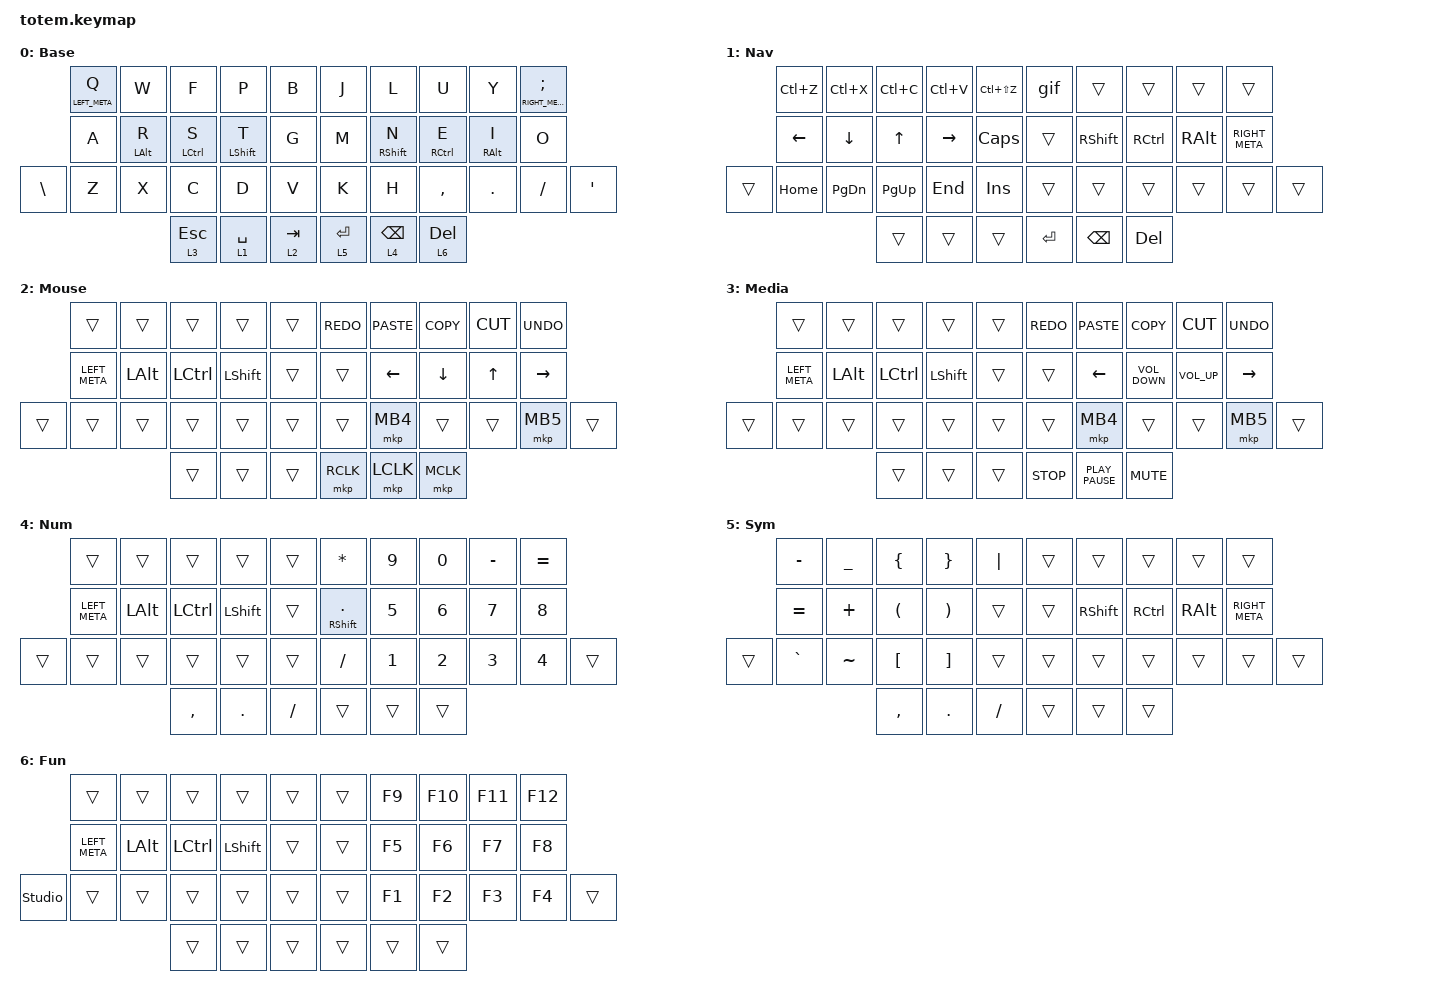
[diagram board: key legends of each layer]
//
//                                                        ▀▀▀▀▀     ▀▀▀▀▀          ▀▀█▀▀
//                                                        ▄▀▀▀▄  ▄  ▄▀▀▀▄  ▄  ▄▀▀▀▄  █  ▄▀▀▀▄
//                                                        █   █  █  █   █  █  █   █  █  █   █
//                                                         ▀▀▀   █   ▀▀▀   █   ▀▀▀   ▀   ▀▀▀
//                                                               █      ▄▄▄█▄▄▄    █   █
//                                                               ▀      █  █  █     █▄█
//                                                             ▀▀▀▀▀    █  █  █      ▀
//                                                                      ▀  ▀  ▀
//
// ▄▄▄▄▄▄▄▄▄▄▄▄▄▄▄▄▄▄▄▄▄▄▄▄▄▄▄▄▄▄▄▄▄▄▄▄▄▄▄▄▄▄▄▄▄▄▄▄▄▄▄▄▄▄▄▄▄▄▄▄▄▄▄▄▄▄▄▄▄▄▄▄▄▄▄▄▄▄▄▄▄▄▄▄▄▄▄▄▄▄▄▄▄▄▄▄▄▄▄▄▄▄▄▄▄▄▄▄▄▄▄▄▄▄▄▄▄▄▄▄▄▄▄▄▄▄▄▄▄▄▄▄▄▄▄▄▄▄▄▄▄▄▄▄▄▄▄▄▄

#include <behaviors.dtsi>
#include <dt-bindings/zmk/keys.h>
#include <dt-bindings/zmk/mouse.h>

#define BASE 0
#define NAV  1
#define MOUSE  2
#define MEDIA  3
#define NUM 4
#define SYM 5

&mt {
    quick-tap-ms = <100>;
    global-quick-tap;
    flavor = "tap-preferred";
    tapping-term-ms = <170>;
};

/ {
    combos {
        compatible = "zmk,combos";

        Alt_Sysreq_R {
            bindings = <&Alt_Sysreq_R>;
            key-positions = <32 37 11>;
        };

        backspace {
            bindings = <&kp BACKSPACE>;
            key-positions = <0 1>;
        };

        enter {
            bindings = <&kp ENTER>;
            key-positions = <2 3>;
        };

        Alt_Sysreq_E {
            bindings = <&Alt_Sysreq_E>;
            key-positions = <32 37 17>;
        };

        Alt_Sysreq_I {
            bindings = <&Alt_Sysreq_I>;
            key-positions = <32 37 18>;
        };

        Alt_Sysreq_S {
            bindings = <&Alt_Sysreq_S>;
            key-positions = <32 37 12>;
        };

        Alt_Sysreq_U {
            bindings = <&Alt_Sysreq_U>;
            key-positions = <32 37 7>;
        };

        Alt_Sysreq_B {
            bindings = <&Alt_Sysreq_B>;
            key-positions = <32 37 4>;
        };

        Alt_Sysreq_O {
            bindings = <&Alt_Sysreq_O>;
            key-positions = <32 37 19>;
        };
    };

    macros {
        gif: gif {
            label = "giphy";
            compatible = "zmk,behavior-macro";
            #binding-cells = <0>;
            bindings =
                <&macro_press>,
                <&kp LSHFT>,
                <&macro_tap>,
                <&kp N2>,
                <&macro_release>,
                <&kp LSHFT>,
                <&macro_tap>,
                <&kp G &kp I &kp F>;
        };

        Alt_Sysreq_R: Alt_Sysreq_R {
            compatible = "zmk,behavior-macro";
            #binding-cells = <0>;
            bindings =
                <&macro_press>,
                <&kp RIGHT_ALT &kp SYSREQ &kp R>,
                <&macro_release>;

            label = "ALT_SYSREQ_R";
        };

        Alt_Sysreq_E: Alt_Sysreq_E {
            compatible = "zmk,behavior-macro";
            #binding-cells = <0>;
            bindings =
                <&macro_press>,
                <&kp RIGHT_ALT &kp SYSREQ &kp E>,
                <&macro_release>;

            label = "ALT_SYSREQ_E";
        };

        Alt_Sysreq_I: Alt_Sysreq_I {
            compatible = "zmk,behavior-macro";
            #binding-cells = <0>;
            bindings =
                <&macro_press>,
                <&kp RIGHT_ALT &kp SYSREQ &kp I>,
                <&macro_release>;

            label = "ALT_SYSREQ_I";
        };

        Alt_Sysreq_S: Alt_Sysreq_S {
            compatible = "zmk,behavior-macro";
            #binding-cells = <0>;
            bindings =
                <&macro_press>,
                <&kp RIGHT_ALT &kp SYSREQ &kp S>,
                <&macro_release>;

            label = "ALT_SYSREQ_S";
        };

        Alt_Sysreq_U: Alt_Sysreq_U {
            compatible = "zmk,behavior-macro";
            #binding-cells = <0>;
            bindings =
                <&macro_press>,
                <&kp RIGHT_ALT &kp SYSREQ &kp U>,
                <&macro_release>;

            label = "ALT_SYSREQ_U";
        };

        Alt_Sysreq_B: Alt_Sysreq_B {
            compatible = "zmk,behavior-macro";
            #binding-cells = <0>;
            bindings =
                <&macro_press>,
                <&kp RIGHT_ALT &kp SYSREQ &kp B>,
                <&macro_release>;

            label = "ALT_SYSREQ_B";
        };

        Alt_Sysreq_O: Alt_Sysreq_O {
            compatible = "zmk,behavior-macro";
            #binding-cells = <0>;
            bindings =
                <&macro_press>,
                <&kp RIGHT_ALT &kp SYSREQ &kp O>,
                <&macro_release>;

            label = "ALT_SYSREQ_O";
        };
    };

    keymap {
        compatible = "zmk,keymap";

        BASE {
            label = "Base";
            bindings = <
               &mt LEFT_META Q  &kp W       &kp F         &kp P        &kp B        &kp J        &kp L            &kp U        &kp Y       &mt RIGHT_META SEMI
               &kp A            &mt LALT R  &mt LCTRL S   &mt LSHFT T  &kp G        &kp M        &mt RSHFT N      &mt RCTRL E  &mt RALT I  &kp O
&kp BACKSLASH  &kp Z            &kp X       &kp C         &kp D        &kp V        &kp K        &kp H            &kp COMMA    &kp DOT     &kp FSLH             &kp APOS
                                            &lt 3 ESCAPE  &lt 1 SPACE  &lt 2 TAB    &lt 5 ENTER  &lt 4 BACKSPACE  &lt 6 DEL
            >;
        };

        NAV {
            label = "Nav";
            bindings = <
        &kp LC(Z)       &kp LC(X)       &kp LC(C)     &kp LC(V)        &kp LC(LS(Z))    &gif       &trans           &trans             &trans         &trans
        &kp LEFT_ARROW  &kp DOWN_ARROW  &kp UP_ARROW  &kp RIGHT_ARROW  &kp CAPSLOCK     &trans     &kp RIGHT_SHIFT  &kp RIGHT_CONTROL  &kp RIGHT_ALT  &kp RIGHT_META
&trans  &kp HOME        &kp PAGE_DOWN   &kp PAGE_UP   &kp END          &kp INSERT       &trans     &trans           &trans             &trans         &trans          &trans
                                        &trans        &trans           &trans           &kp ENTER  &kp BACKSPACE    &kp DELETE
            >;
        };

        MOUSE {
            label = "Mouse";
            bindings = <
        &trans         &trans        &trans            &trans          &trans    &kp K_REDO  &kp K_PASTE     &kp K_COPY      &kp K_CUT     &kp K_UNDO
        &kp LEFT_META  &kp LEFT_ALT  &kp LEFT_CONTROL  &kp LEFT_SHIFT  &trans    &trans      &kp LEFT_ARROW  &kp DOWN_ARROW  &kp UP_ARROW  &kp RIGHT_ARROW
&trans  &trans         &trans        &trans            &trans          &trans    &trans      &mkp MB4        &trans          &trans        &mkp MB5         &trans
                                     &trans            &trans          &trans    &mkp RCLK   &mkp LCLK       &mkp MCLK
            >;
        };

        MEDIA {
            label = "Media";
            bindings = <
        &trans         &trans        &trans            &trans          &trans    &kp K_REDO  &kp K_PASTE       &kp K_COPY         &kp K_CUT        &kp K_UNDO
        &kp LEFT_META  &kp LEFT_ALT  &kp LEFT_CONTROL  &kp LEFT_SHIFT  &trans    &trans      &kp LEFT_ARROW    &kp C_VOLUME_DOWN  &kp C_VOLUME_UP  &kp RIGHT_ARROW
&trans  &trans         &trans        &trans            &trans          &trans    &trans      &mkp MB4          &trans             &trans           &mkp MB5         &trans
                                     &trans            &trans          &trans    &kp K_STOP  &kp K_PLAY_PAUSE  &kp K_MUTE
            >;
        };

        NUM {
            label = "Num";
            bindings = <
        &trans         &trans        &trans            &trans          &trans      &kp ASTERISK            &kp NUMBER_9  &kp NUMBER_0  &kp MINUS     &kp EQUAL
        &kp LEFT_META  &kp LEFT_ALT  &kp LEFT_CONTROL  &kp LEFT_SHIFT  &trans      &mt RIGHT_SHIFT PERIOD  &kp NUMBER_5  &kp NUMBER_6  &kp NUMBER_7  &kp NUMBER_8
&trans  &trans         &trans        &trans            &trans          &trans      &kp SLASH               &kp NUMBER_1  &kp NUMBER_2  &kp NUMBER_3  &kp NUMBER_4  &trans
                                     &kp COMMA         &kp PERIOD      &kp FSLH    &trans                  &trans        &trans
            >;
        };

        SYM {
            label = "Sym";
            bindings = <
        &kp MINUS  &kp UNDER  &kp LEFT_BRACE        &kp RIGHT_BRACE        &kp PIPE    &trans  &trans           &trans             &trans         &trans
        &kp EQUAL  &kp PLUS   &kp LEFT_PARENTHESIS  &kp RIGHT_PARENTHESIS  &trans      &trans  &kp RIGHT_SHIFT  &kp RIGHT_CONTROL  &kp RIGHT_ALT  &kp RIGHT_META
&trans  &kp GRAVE  &kp TILDE  &kp LEFT_BRACKET      &kp RIGHT_BRACKET      &trans      &trans  &trans           &trans             &trans         &trans          &trans
                              &kp COMMA             &kp PERIOD             &kp FSLH    &trans  &trans           &trans
            >;
        };

        FUN {
            label = "Fun";
            bindings = <
                &trans         &trans        &trans            &trans          &trans    &trans  &kp F9  &kp F10  &kp F11  &kp F12
                &kp LEFT_META  &kp LEFT_ALT  &kp LEFT_CONTROL  &kp LEFT_SHIFT  &trans    &trans  &kp F5  &kp F6   &kp F7   &kp F8
&studio_unlock  &trans         &trans        &trans            &trans          &trans    &trans  &kp F1  &kp F2   &kp F3   &kp F4   &trans
                                             &trans            &trans          &trans    &trans  &trans  &trans
            >;
        };
    };
};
